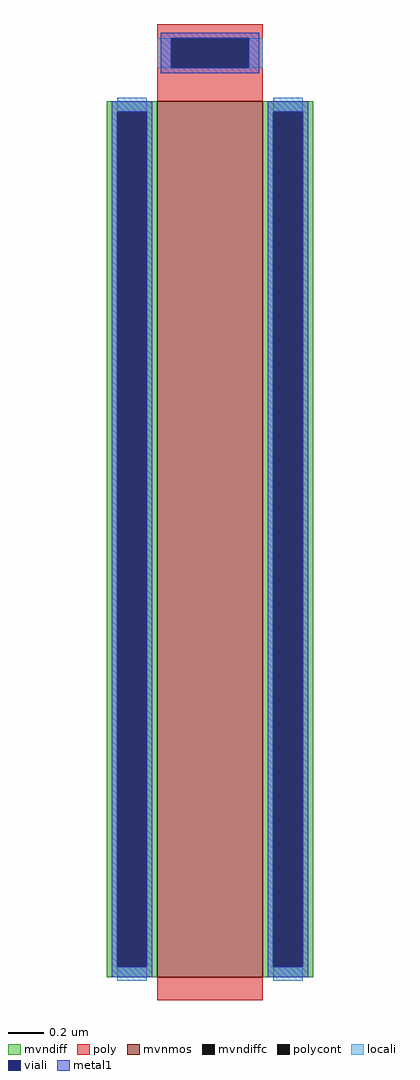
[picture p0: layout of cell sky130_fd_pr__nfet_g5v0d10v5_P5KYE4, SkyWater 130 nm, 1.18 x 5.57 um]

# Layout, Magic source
magic
tech sky130A
magscale 1 2
<< mvnmos >>
rect -60 -531 60 469
<< mvndiff >>
rect -118 457 -60 469
rect -118 -519 -106 457
rect -72 -519 -60 457
rect -118 -531 -60 -519
rect 60 457 118 469
rect 60 -519 72 457
rect 106 -519 118 457
rect 60 -531 118 -519
<< mvndiffc >>
rect -106 -519 -72 457
rect 72 -519 106 457
<< poly >>
rect -60 541 60 557
rect -60 507 -44 541
rect 44 507 60 541
rect -60 469 60 507
rect -60 -557 60 -531
<< polycont >>
rect -44 507 44 541
<< locali >>
rect -60 507 -44 541
rect 44 507 60 541
rect -106 457 -72 473
rect -106 -535 -72 -519
rect 72 457 106 473
rect 72 -535 106 -519
<< viali >>
rect -44 507 44 541
rect -106 -519 -72 457
rect 72 -519 106 457
<< metal1 >>
rect -56 541 56 547
rect -56 507 -44 541
rect 44 507 56 541
rect -56 501 56 507
rect -112 457 -66 469
rect -112 -519 -106 457
rect -72 -519 -66 457
rect -112 -531 -66 -519
rect 66 457 112 469
rect 66 -519 72 457
rect 106 -519 112 457
rect 66 -531 112 -519
<< properties >>
string gencell sky130_fd_pr__nfet_g5v0d10v5
string library sky130
string parameters w 5 l 0.60 m 1 nf 1 diffcov 100 polycov 100 guard 0 glc 1 grc 1 gtc 1 gbc 1 tbcov 100 rlcov 100 topc 1 botc 0 poverlap 0 doverlap 0 lmin 0.50 wmin 0.42 compatible {sky130_fd_pr__nfet_01v8 sky130_fd_pr__nfet_01v8_lvt  sky130_fd_bs_flash__special_sonosfet_star  sky130_fd_pr__nfet_g5v0d10v5 sky130_fd_pr__nfet_05v0_nvt  sky130_fd_pr__nfet_03v3_nvt} full_metal 1 viasrc 100 viadrn 100 viagate 100 viagb 0 viagr 0 viagl 0 viagt 0
<< end >>
